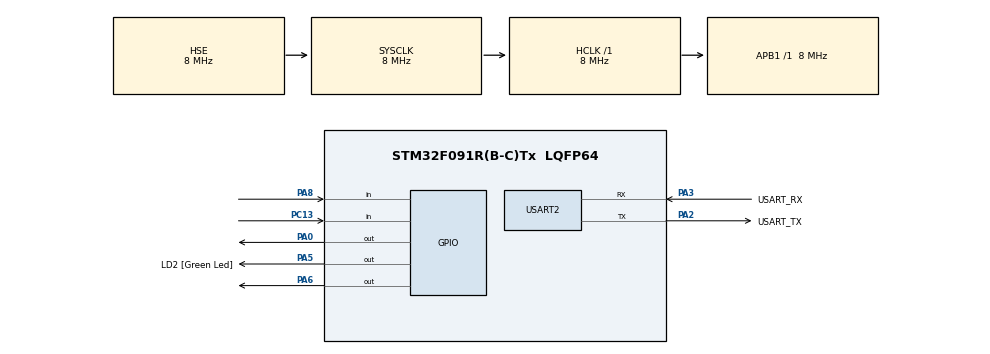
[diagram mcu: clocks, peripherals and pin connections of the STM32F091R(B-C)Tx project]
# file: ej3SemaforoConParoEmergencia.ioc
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Mcu.Family=STM32F0
Mcu.Name=STM32F091R(B-C)Tx
Mcu.Package=LQFP64
PA0.Signal=GPIO_Output
PA13.GPIO_Label=TMS
PA13.Mode=Serial_Wire
PA13.Signal=SYS_SWDIO
PA14.GPIO_Label=TCK
PA14.Mode=Serial_Wire
PA14.Signal=SYS_SWCLK
PA2.GPIO_Label=USART_TX
PA2.GPIO_Mode=GPIO_MODE_AF_PP
PA2.GPIO_PuPd=GPIO_NOPULL
PA2.GPIO_Speed=GPIO_SPEED_FREQ_LOW
PA2.Mode=Asynchronous
PA2.Signal=USART2_TX
PA3.GPIO_Label=USART_RX
PA3.GPIO_Mode=GPIO_MODE_AF_PP
PA3.GPIO_PuPd=GPIO_NOPULL
PA3.GPIO_Speed=GPIO_SPEED_FREQ_LOW
PA3.Mode=Asynchronous
PA3.Signal=USART2_RX
PA5.GPIO_Label=LD2 [Green Led]
PA5.GPIO_Mode=GPIO_MODE_OUTPUT_PP
PA5.GPIO_PuPd=GPIO_NOPULL
PA5.GPIO_Speed=GPIO_SPEED_FREQ_LOW
PA5.Signal=GPIO_Output
PA6.Signal=GPIO_Output
PA8.GPIO_PuPd=GPIO_PULLUP
PA8.Signal=GPIO_Input
PC13.Signal=GPIO_Input
PC14OSC32_IN.Mode=LSE-External-Oscillator
PC14OSC32_IN.Signal=RCC_OSC32_IN
PC15OSC32_OUT.Mode=LSE-External-Oscillator
PC15OSC32_OUT.Signal=RCC_OSC32_OUT
PF0-OSC_IN.Mode=HSE-External-Clock-Source
PF0-OSC_IN.Signal=RCC_OSC_IN
PF1-OSC_OUT.Signal=RCC_OSC_OUT
ProjectManager.HeapSize=0x200
ProjectManager.StackSize=0x400
ProjectManager.TargetToolchain=CMake
RCC.AHBFreq_Value=8000000
RCC.APB1Freq_Value=8000000
RCC.APB1TimFreq_Value=8000000
RCC.FLatency-AdvancedSettings=FLASH_LATENCY_0
RCC.HCLKFreq_Value=8000000
RCC.PLLDivider=RCC_PREDIV_DIV2
RCC.PLLMUL=RCC_PLL_MUL12
RCC.PREFETCH_ENABLE-AdvancedSettings=1
RCC.SYSCLKFreq_VALUE=8000000
RCC.SYSCLKSource=RCC_SYSCLKSOURCE_HSE
USART2.VirtualMode=VM_ASYNC
USART2.VirtualMode-Asynchronous=VM_ASYNC
board=NUCLEO-F091RC

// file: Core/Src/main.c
/* USER CODE BEGIN Header */
/**
  ******************************************************************************
  * @file           : main.c
  * @brief          : Main program body
  ******************************************************************************
  * @attention
  *
  * Copyright (c) 2026 STMicroelectronics.
  * All rights reserved.
  *
  * This software is licensed under terms that can be found in the LICENSE file
  * in the root directory of this software component.
  * If no LICENSE file comes with this software, it is provided AS-IS.
  *
  ******************************************************************************
  */
/* USER CODE END Header */
#include "main.h"
#include "stm32f091xc.h"
#include "stm32f0xx_hal.h"
#include <stdint.h>

UART_HandleTypeDef huart2;

/* USER CODE BEGIN PV */
uint8_t num = 1;
uint16_t cont = 0;//Variable para usar de contador
/* USER CODE END PV */

void SystemClock_Config(void);
static void MX_GPIO_Init(void);
static void MX_USART2_UART_Init(void);
/* USER CODE BEGIN PFP */
void coloresSemaforo(uint8_t num){
  switch (num){
    case 1:
      GPIOA->BSRR = (1UL << 0) | (1UL << 21) | (1UL << 22);//Luz verde
      break;
    case 2:
      GPIOA->BSRR = (1UL << 16) | (1UL << 5) | (1UL << 22);//Luz amarilla
      break;
    case 3:
      GPIOA->BSRR = (1UL << 16) | (1UL << 21) | (1UL << 6);//Luz roja
      break;
    default:
      GPIOA->BSRR = (1UL << 0) | (1UL << 21) | (1UL << 22);//Por defecto se enciende la verde
      break;

  }
}
/* USER CODE END PFP */

int main(void)
{

  /* MCU Configuration--------------------------------------------------------*/

  /* Reset of all peripherals, Initializes the Flash interface and the Systick. */
  HAL_Init();

  /* Configure the system clock */
  SystemClock_Config();

  /* Initialize all configured peripherals */
  MX_GPIO_Init();
  MX_USART2_UART_Init();

  /* Infinite loop */
  /* USER CODE BEGIN WHILE */
  while (1)
  {
    GPIOA->BSRR = (1UL << 0) | (1UL << 21) | (1UL << 22);
    while(((GPIOC->IDR & (1UL << 13)) != 0) && (((GPIOA->IDR & (1UL << 8)) != 0)));//Mientras no se pulsa nada nos quedamos aquí
    if((GPIOA->IDR & (1UL << 8)) == 0){//Si se pulsa el botón de emergencia
      HAL_Delay(5);//Aplicamos debounce
      num = 3;
      coloresSemaforo(num);
      while((GPIOA->IDR & (1UL << 8)) == 0);
    }else if((GPIOA->IDR & (1UL << 13)) != 0){
      HAL_Delay(5);//Debounce
      while(cont <= 1000){
        if(((GPIOA->IDR & (1UL << 8)) != 0)){
          HAL_Delay(1);
          cont++;
          coloresSemaforo(1);
        }else{
          coloresSemaforo(3);
          break;
        }
      }
      cont = 0;//Reiniciamos contador
      while(cont <= 500){
        if(((GPIOA->IDR & (1UL << 8)) != 0)){
          HAL_Delay(1);
          cont++;
          coloresSemaforo(2);
        }else{
          coloresSemaforo(3);
          break;
        }
      }
      cont = 0;
      while(cont <= 1500){
        if(((GPIOA->IDR & (1UL << 8)) != 0)){
          HAL_Delay(1);
          cont++;
          coloresSemaforo(3);
        }else{
          coloresSemaforo(3);
          break;
        }
      }
      cont = 0;
      num = 1;

    }

    /* USER CODE END WHILE */

  }
}

void SystemClock_Config(void)
{
  RCC_OscInitTypeDef RCC_OscInitStruct = {0};
  RCC_ClkInitTypeDef RCC_ClkInitStruct = {0};
  RCC_PeriphCLKInitTypeDef PeriphClkInit = {0};

  /** Initializes the RCC Oscillators according to the specified parameters
  * in the RCC_OscInitTypeDef structure.
  */
  RCC_OscInitStruct.OscillatorType = RCC_OSCILLATORTYPE_HSE;
  RCC_OscInitStruct.HSEState = RCC_HSE_BYPASS;
  RCC_OscInitStruct.PLL.PLLState = RCC_PLL_NONE;
  if (HAL_RCC_OscConfig(&RCC_OscInitStruct) != HAL_OK)
  {
    Error_Handler();
  }

  /** Initializes the CPU, AHB and APB buses clocks
  */
  RCC_ClkInitStruct.ClockType = RCC_CLOCKTYPE_HCLK|RCC_CLOCKTYPE_SYSCLK
                              |RCC_CLOCKTYPE_PCLK1;
  RCC_ClkInitStruct.SYSCLKSource = RCC_SYSCLKSOURCE_HSE;
  RCC_ClkInitStruct.AHBCLKDivider = RCC_SYSCLK_DIV1;
  RCC_ClkInitStruct.APB1CLKDivider = RCC_HCLK_DIV1;

  if (HAL_RCC_ClockConfig(&RCC_ClkInitStruct, FLASH_LATENCY_0) != HAL_OK)
  {
    Error_Handler();
  }
  PeriphClkInit.PeriphClockSelection = RCC_PERIPHCLK_USART2;
  PeriphClkInit.Usart2ClockSelection = RCC_USART2CLKSOURCE_PCLK1;
  if (HAL_RCCEx_PeriphCLKConfig(&PeriphClkInit) != HAL_OK)
  {
    Error_Handler();
  }
}

static void MX_USART2_UART_Init(void)
{

  huart2.Instance = USART2;
  huart2.Init.BaudRate = 115200;
  huart2.Init.WordLength = UART_WORDLENGTH_8B;
  huart2.Init.StopBits = UART_STOPBITS_1;
  huart2.Init.Parity = UART_PARITY_NONE;
  huart2.Init.Mode = UART_MODE_TX_RX;
  huart2.Init.HwFlowCtl = UART_HWCONTROL_NONE;
  huart2.Init.OverSampling = UART_OVERSAMPLING_16;
  huart2.Init.OneBitSampling = UART_ONE_BIT_SAMPLE_DISABLE;
  huart2.AdvancedInit.AdvFeatureInit = UART_ADVFEATURE_NO_INIT;
  if (HAL_UART_Init(&huart2) != HAL_OK)
  {
    Error_Handler();
  }

}

static void MX_GPIO_Init(void)
{
  GPIO_InitTypeDef GPIO_InitStruct = {0};

  /* GPIO Ports Clock Enable */
  __HAL_RCC_GPIOC_CLK_ENABLE();
  __HAL_RCC_GPIOF_CLK_ENABLE();
  __HAL_RCC_GPIOA_CLK_ENABLE();

  /*Configure GPIO pin Output Level */
  HAL_GPIO_WritePin(GPIOA, GPIO_PIN_0|LD2_Pin|GPIO_PIN_6, GPIO_PIN_RESET);

  /*Configure GPIO pin : PC13 */
  GPIO_InitStruct.Pin = GPIO_PIN_13;
  GPIO_InitStruct.Mode = GPIO_MODE_INPUT;
  GPIO_InitStruct.Pull = GPIO_NOPULL;
  HAL_GPIO_Init(GPIOC, &GPIO_InitStruct);

  /*Configure GPIO pins : PA0 LD2_Pin PA6 */
  GPIO_InitStruct.Pin = GPIO_PIN_0|LD2_Pin|GPIO_PIN_6;
  GPIO_InitStruct.Mode = GPIO_MODE_OUTPUT_PP;
  GPIO_InitStruct.Pull = GPIO_NOPULL;
  GPIO_InitStruct.Speed = GPIO_SPEED_FREQ_LOW;
  HAL_GPIO_Init(GPIOA, &GPIO_InitStruct);

  /*Configure GPIO pin : PA8 */
  GPIO_InitStruct.Pin = GPIO_PIN_8;
  GPIO_InitStruct.Mode = GPIO_MODE_INPUT;
  GPIO_InitStruct.Pull = GPIO_PULLUP;
  HAL_GPIO_Init(GPIOA, &GPIO_InitStruct);

}

void Error_Handler(void)
{
  __disable_irq();
  while (1)
  {
  }
}
